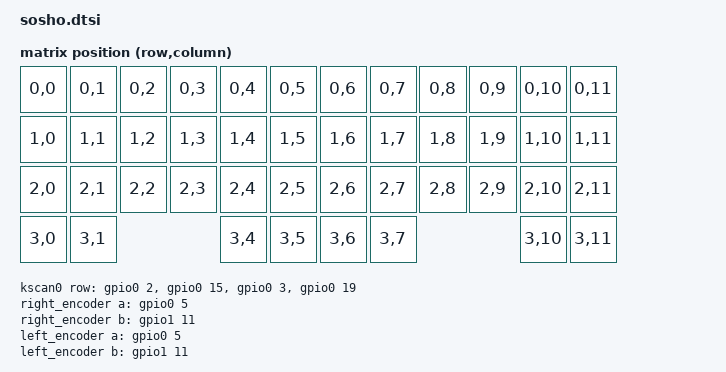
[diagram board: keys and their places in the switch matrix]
#include <dt-bindings/zmk/matrix_transform.h>
#include <dt-bindings/zmk/behaviors.h>
#include <zephyr/dt-bindings/input/input-event-codes.h>
#include <zephyr/dt-bindings/pwm/pwm.h>
#include "sosho-layouts.dtsi"

/*&uart0 { status = "disabled"; };*/
&i2c0  { status = "disabled"; };
&i2c1  { status = "disabled"; };

/* NFC 用のピン（P0.09・P0.10）を普通のピンとして使う（列 3・列 5 のキー）。
   Zephyr 4.1 で非推奨になった CONFIG_NFCT_PINS_AS_GPIOS の後継の書き方 */
&uicr {
    nfct-pins-as-gpios;
};

/ {
	/* キー入力に関する設定 */
    chosen {
        zmk,kscan = &kscan0;
        zmk,physical-layout = &physical_layout0;
    };

    default_transform: keymap_transform_0 {
        compatible = "zmk,matrix-transform";
        columns = <12>;
        rows = <4>;
        map = <
            RC(0,0) RC(0,1) RC(0,2) RC(0,3) RC(0,4) RC(0,5)     RC(0,6) RC(0,7) RC(0,8) RC(0,9) RC(0,10) RC(0,11)
            RC(1,0) RC(1,1) RC(1,2) RC(1,3) RC(1,4) RC(1,5)     RC(1,6) RC(1,7) RC(1,8) RC(1,9) RC(1,10) RC(1,11)
            RC(2,0) RC(2,1) RC(2,2) RC(2,3) RC(2,4) RC(2,5)     RC(2,6) RC(2,7) RC(2,8) RC(2,9) RC(2,10) RC(2,11)
            RC(3,0) RC(3,1)                 RC(3,4) RC(3,5)     RC(3,6) RC(3,7)                 RC(3,10) RC(3,11)
        >;
    };

    kscan0: kscan {
        compatible = "zmk,kscan-gpio-matrix";
        wakeup-source;
        diode-direction = "col2row";
        row-gpios
            = <&gpio0 2 (GPIO_ACTIVE_HIGH | GPIO_PULL_DOWN)>
            , <&gpio0 15 (GPIO_ACTIVE_HIGH | GPIO_PULL_DOWN)>
            , <&gpio0 3 (GPIO_ACTIVE_HIGH | GPIO_PULL_DOWN)>
            , <&gpio0 19 (GPIO_ACTIVE_HIGH | GPIO_PULL_DOWN)>
            ;
    };

	/* エンコーダに関する設定 */
    right_encoder: encoder_right {
        compatible = "alps,ec11";
        a-gpios = <&gpio0 5 (GPIO_ACTIVE_LOW | GPIO_PULL_UP)>;
        b-gpios = <&gpio1 11 (GPIO_ACTIVE_LOW | GPIO_PULL_UP)>;
        steps = <96>;
        status = "disabled";
    };

    left_encoder: encoder_left {
        compatible = "alps,ec11";
        a-gpios = <&gpio0 5 (GPIO_ACTIVE_LOW | GPIO_PULL_UP)>;
        b-gpios = <&gpio1 11 (GPIO_ACTIVE_LOW | GPIO_PULL_UP)>;
        steps = <96>;
        status = "disabled";
    };

    sensors: sensors {
        compatible = "zmk,keymap-sensors";
        sensors = <&left_encoder &right_encoder>;
        triggers-per-rotation = <24>;
    };

	/* L側のspi入力 */
    split_inputs {
        #address-cells = <1>;
        #size-cells = <0>;

        glidepoint_split: glidepoint_split@0 {
            compatible = "zmk,input-split";
            reg = <0>;
			status = "disabled";
        };

        trackball_split: trackball_split@1 {
            compatible = "zmk,input-split";
            reg = <1>;
			status = "disabled";
        };
    };

	/* spiをinputとして受け取るところ */
    glidepoint_split_listener: glidepoint_split_listener {
        compatible = "zmk,input-listener";
        status = "disabled";
		device = <&glidepoint_split>;
    };

    glidepoint_listener: glidepoint_listener {
        compatible = "zmk,input-listener";
        status = "disabled";
        device = <&glidepoint>;
    };

    trackball_listener: trackball_listener {
        compatible = "zmk,input-listener";
        status = "disabled";
        device = <&trackball>;
    };

    trackball_split_listener: trackball_split_listener {
        compatible = "zmk,input-listener";
        status = "disabled";
		device = <&trackball_split>;
    };

	/* zmk-rgbled-widgetのおまじない */
    aliases {
        led-red = &led0;
        led-green = &led1;
        led-blue = &led2;
    };

    leds {
        status = "okay";
    };

	/* 充電 IC（BQ25101）の CHG 信号。充電中は Low（XIAO の赤い充電 LED と同じ線）。
	   src/charging_led.c が読むだけで、充電電流を切り替える P0.13 には触らない。
	   pwms は充電中の LED のフェード用（赤・緑。下の &pwm1） */
    zephyr,user {
        chg-gpios = <&gpio0 17 (GPIO_ACTIVE_LOW | GPIO_PULL_UP)>;
        pwms = <&pwm1 0 PWM_MSEC(1) PWM_POLARITY_INVERTED>,
               <&pwm1 1 PWM_MSEC(1) PWM_POLARITY_INVERTED>;
        pwm-names = "red", "green";
    };

	/* ボード定義の PWM の LED（&pwm0 を使う）は使わない。下の &pwm0 の注意を参照 */
    pwmleds {
        status = "disabled";
    };
};

&pinctrl {
    /* トラックパッドの配線設定 */
    spi0_default: spi0_default {
        group1 {
            psels = <NRF_PSEL(SPIM_SCK, 1, 13)>,
                    <NRF_PSEL(SPIM_MOSI, 1, 15)>,
                    <NRF_PSEL(SPIM_MISO, 1, 14)>;
        };
    };
    spi0_sleep: spi0_sleep {
        group1 {
            psels = <NRF_PSEL(SPIM_SCK, 1, 13)>,
                    <NRF_PSEL(SPIM_MOSI, 1, 15)>,
                    <NRF_PSEL(SPIM_MISO, 1, 14)>;
            low-power-enable;
        };
    };
    /* トラックボールの配線設定 */
    spi1_default: spi1_default {
        group1 {
            psels = <NRF_PSEL(SPIM_SCK, 1, 13)>,
                    <NRF_PSEL(SPIM_MOSI, 1, 14)>,
                    <NRF_PSEL(SPIM_MISO, 1, 14)>;
        };
    };
    spi1_sleep: spi1_sleep {
        group1 {
            psels = <NRF_PSEL(SPIM_SCK, 1, 13)>,
                    <NRF_PSEL(SPIM_MOSI, 1, 14)>,
                    <NRF_PSEL(SPIM_MISO, 1, 14)>;
            low-power-enable;
        };
    };
    /* 状態表示の LED（赤 P0.26・緑 P0.30）の PWM。LED は Low で点くので反転する */
    pwm1_led_default: pwm1_led_default {
        group1 {
            psels = <NRF_PSEL(PWM_OUT0, 0, 26)>,
                    <NRF_PSEL(PWM_OUT1, 0, 30)>;
            nordic,invert;
        };
    };
    pwm1_led_sleep: pwm1_led_sleep {
        group1 {
            psels = <NRF_PSEL(PWM_OUT0, 0, 26)>,
                    <NRF_PSEL(PWM_OUT1, 0, 30)>;
            low-power-enable;
        };
    };
};

/* ボード定義の &pwm0 は出力を P0.17（充電 IC の CHG）に割り当てている。
   PWM のドライバを入れると CHG の線を駆動してしまうので、必ず無効にしておく */
&pwm0 {
    status = "disabled";
};

/* 状態表示の LED の PWM（充電中のフェード）。止めている間は widget が GPIO で点け消しする */
&pwm1 {
    status = "okay";
    pinctrl-0 = <&pwm1_led_default>;
    pinctrl-1 = <&pwm1_led_sleep>;
    pinctrl-names = "default", "sleep";
};


/* トラックパッドの配線設定 */
&spi0 {
    status = "disabled";
    compatible = "nordic,nrf-spim";
    pinctrl-0 = <&spi0_default>;
    pinctrl-1 = <&spi0_sleep>;
    pinctrl-names = "default", "sleep";
    cs-gpios = <&gpio1 5 GPIO_ACTIVE_LOW>;
    glidepoint: glidepoint@0 {
        status = "disabled";
        compatible = "cirque,pinnacle";
        reg = <0>;
        spi-max-frequency = <500000>;
        data-ready-gpios = <&gpio1 7 (GPIO_ACTIVE_HIGH)>;
        /* Setting a higher sensitivity causes issues on bluetooth */
        sensitivity = "1x";
    };
};

/* トラックボールの配線設定 */
#include <zephyr/dt-bindings/input/input-event-codes.h>
&spi1 {
    status = "disabled";
    compatible = "nordic,nrf-spim";
    pinctrl-0 = <&spi1_default>;
    pinctrl-1 = <&spi1_sleep>;
    pinctrl-names = "default", "sleep";
    cs-gpios = <&gpio1 3 GPIO_ACTIVE_LOW>; // nCS

    trackball: trackball@0 {
        status = "disabled";
        compatible = "pixart,pmw3610-alt";
        reg = <0>;
        spi-max-frequency = <2000000>;
        irq-gpios = <&gpio1 7 (GPIO_ACTIVE_HIGH)>;      // Sample-LOW PRODUCT-HIGH
        cpi = <600>;
        evt-type = <INPUT_EV_REL>;
        x-input-code = <INPUT_REL_Y>;
        y-input-code = <INPUT_REL_X>;
    };
};
